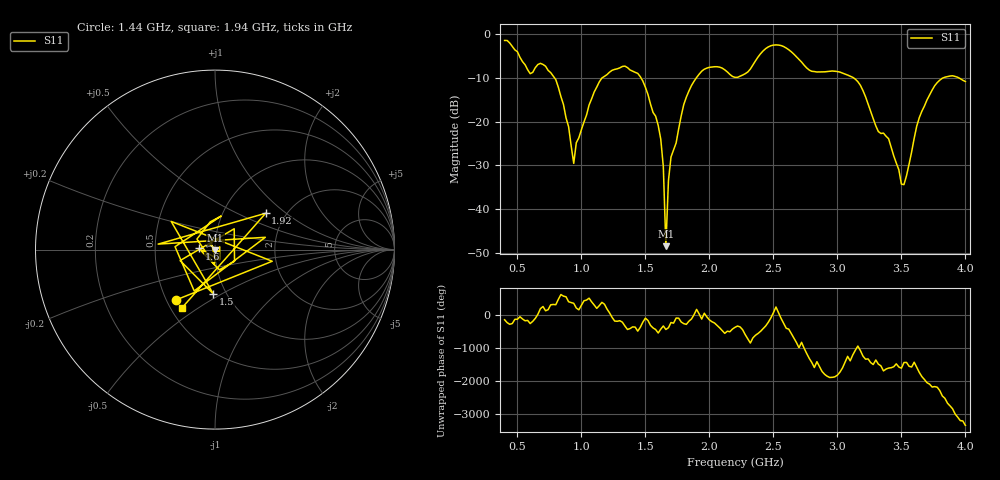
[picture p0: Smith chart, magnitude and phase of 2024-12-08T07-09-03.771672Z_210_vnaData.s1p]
!Created with skrf (http://scikit-rf.org).
# Hz S RI R 50.0
!freq ReS11 ImS11
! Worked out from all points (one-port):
!   181 points, 400 MHz to 4 GHz, reference 50 ohm
!   lowest |S11| = -48.5 dB at 1.66 GHz (marker M1), VSWR 1.01, Z = 50.1 - j0.368 ohm
!   |S11| at or under -10 dB: 789.3 MHz to 1.163 GHz (373.5 MHz wide, 38.3 % of centre); 1.465 GHz to 1.899 GHz (433.6 MHz wide, 25.8 % of centre); 3.125 GHz to 3.828 GHz (703.3 MHz wide, 20.2 % of centre) (the widest 3 of 4)
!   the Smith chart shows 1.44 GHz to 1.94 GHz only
!   S11 on the Smith chart (normalised r, x): 1.44 GHz: 0.56, -0.36; 1.5 GHz: 0.87, -0.45; 1.6 GHz: 0.83, +0.01; 1.92 GHz: 1.58, +0.73; 1.94 GHz: 0.57, -0.43
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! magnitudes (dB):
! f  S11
! 400 MHz  -1.5
! 600 MHz  -9.1
! 720 MHz  -7.4
! 860 MHz  -16.1
! 940 MHz  -29.6
! 960 MHz  -24.9
! 1.1 GHz  -13.2
! 1.3 GHz  -7.7
! 1.44 GHz  -9.0
! 1.5 GHz  -12.2
! 1.6 GHz  -20.9
! 1.64 GHz  -30.3
! 1.66 GHz  -48.5
! 1.68 GHz  -33.5
! 1.7 GHz  -28.1
! 1.76 GHz  -21.6
! 1.92 GHz  -9.2
! 1.94 GHz  -8.5
! 2.2 GHz  -9.9
! 2.48 GHz  -2.7
! 2.66 GHz  -4.6
! 3.1 GHz  -9.7
! 3.4 GHz  -23.9
! 3.5 GHz  -34.3
! 3.56 GHz  -29.7
! 3.64 GHz  -19.1
! 3.76 GHz  -11.8
! 4 GHz  -10.9
